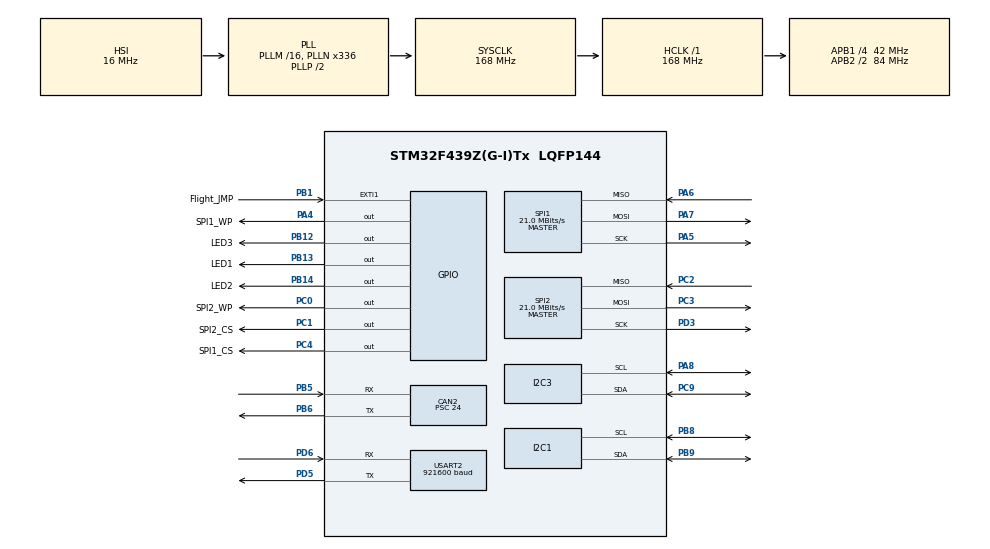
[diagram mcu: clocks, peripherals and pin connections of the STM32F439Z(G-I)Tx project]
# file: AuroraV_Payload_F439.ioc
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CAN2.BS1=CAN_BS1_11TQ
CAN2.BS2=CAN_BS2_2TQ
CAN2.CalculateBaudRate=125000
CAN2.CalculateTimeBit=8000
CAN2.CalculateTimeQuantum=571.4285714285714
CAN2.Mode=CAN_MODE_NORMAL
CAN2.Prescaler=24
CAN2.SJW=CAN_SJW_2TQ
Dma.Request0=SPI1_TX
Dma.Request1=SPI2_TX
Dma.SPI1_TX.0.Direction=DMA_MEMORY_TO_PERIPH
Dma.SPI1_TX.0.FIFOMode=DMA_FIFOMODE_DISABLE
Dma.SPI1_TX.0.Instance=DMA2_Stream3
Dma.SPI1_TX.0.MemDataAlignment=DMA_MDATAALIGN_BYTE
Dma.SPI1_TX.0.MemInc=DMA_MINC_ENABLE
Dma.SPI1_TX.0.Mode=DMA_NORMAL
Dma.SPI1_TX.0.PeriphDataAlignment=DMA_PDATAALIGN_BYTE
Dma.SPI1_TX.0.PeriphInc=DMA_PINC_DISABLE
Dma.SPI1_TX.0.Priority=DMA_PRIORITY_MEDIUM
Dma.SPI2_TX.1.Direction=DMA_MEMORY_TO_PERIPH
Dma.SPI2_TX.1.FIFOMode=DMA_FIFOMODE_DISABLE
Dma.SPI2_TX.1.Instance=DMA1_Stream4
Dma.SPI2_TX.1.MemDataAlignment=DMA_MDATAALIGN_BYTE
Dma.SPI2_TX.1.MemInc=DMA_MINC_ENABLE
Dma.SPI2_TX.1.Mode=DMA_NORMAL
Dma.SPI2_TX.1.PeriphDataAlignment=DMA_PDATAALIGN_BYTE
Dma.SPI2_TX.1.PeriphInc=DMA_PINC_DISABLE
Dma.SPI2_TX.1.Priority=DMA_PRIORITY_MEDIUM
Mcu.Family=STM32F4
Mcu.Name=STM32F439Z(G-I)Tx
Mcu.Package=LQFP144
NVIC.CAN2_RX0_IRQn=true\:0\:0\:false\:false\:true\:true\:true\:true
NVIC.DMA1_Stream4_IRQn=true\:0\:0\:false\:false\:true\:false\:true\:true
NVIC.DMA2_Stream3_IRQn=true\:0\:0\:false\:false\:true\:false\:true\:true
NVIC.EXTI1_IRQn=true\:0\:0\:false\:false\:true\:true\:true\:true
NVIC.PriorityGroup=NVIC_PRIORITYGROUP_4
NVIC.TIM6_DAC_IRQn=true\:0\:0\:false\:false\:true\:true\:true\:true
NVIC.TIM7_IRQn=true\:0\:0\:false\:false\:true\:true\:true\:true
NVIC.USART2_IRQn=true\:0\:0\:false\:false\:true\:true\:true\:true
PA11.Signal=CAN1_RX
PA12.Signal=CAN1_TX
PA13.Mode=JTAG_5_pins
PA13.Signal=SYS_JTMS-SWDIO
PA14.Mode=JTAG_5_pins
PA14.Signal=SYS_JTCK-SWCLK
PA15.Mode=JTAG_5_pins
PA15.Signal=SYS_JTDI
PA4.GPIO_Label=SPI1_WP
PA4.GPIO_PuPd=GPIO_PULLUP
PA4.Signal=GPIO_Output
PA5.Mode=Full_Duplex_Master
PA5.Signal=SPI1_SCK
PA6.Mode=Full_Duplex_Master
PA6.Signal=SPI1_MISO
PA7.Mode=Full_Duplex_Master
PA7.Signal=SPI1_MOSI
PA8.Mode=I2C
PA8.Signal=I2C3_SCL
PB1.GPIO_Label=Flight_JMP
PB1.Signal=GPXTI1
PB12.GPIO_Label=LED3
PB12.GPIO_PuPd=GPIO_PULLDOWN
PB12.Signal=GPIO_Output
PB13.GPIO_Label=LED1
PB13.GPIO_PuPd=GPIO_PULLDOWN
PB13.Signal=GPIO_Output
PB14.GPIO_Label=LED2
PB14.GPIO_PuPd=GPIO_PULLDOWN
PB14.Signal=GPIO_Output
PB3.Mode=JTAG_5_pins
PB3.Signal=SYS_JTDO-SWO
PB4.Mode=JTAG_5_pins
PB4.Signal=SYS_JTRST
PB5.Mode=CAN_Activate
PB5.Signal=CAN2_RX
PB6.Mode=CAN_Activate
PB6.Signal=CAN2_TX
PB8.Mode=I2C
PB8.Signal=I2C1_SCL
PB9.Mode=I2C
PB9.Signal=I2C1_SDA
PC0.GPIO_Label=SPI2_WP
PC0.GPIO_PuPd=GPIO_PULLUP
PC0.Signal=GPIO_Output
PC1.GPIO_Label=SPI2_CS
PC1.Signal=GPIO_Output
PC14/OSC32_IN.Mode=LSE-External-Oscillator
PC14/OSC32_IN.Signal=RCC_OSC32_IN
PC15/OSC32_OUT.Mode=LSE-External-Oscillator
PC15/OSC32_OUT.Signal=RCC_OSC32_OUT
PC2.Mode=Full_Duplex_Master
PC2.Signal=SPI2_MISO
PC3.Mode=Full_Duplex_Master
PC3.Signal=SPI2_MOSI
PC4.GPIO_Label=SPI1_CS
PC4.Signal=GPIO_Output
PC9.Mode=I2C
PC9.Signal=I2C3_SDA
PD3.Mode=Full_Duplex_Master
PD3.Signal=SPI2_SCK
PD5.Mode=Asynchronous
PD5.Signal=USART2_TX
PD6.Mode=Asynchronous
PD6.Signal=USART2_RX
PH0/OSC_IN.Mode=HSE-External-Oscillator
PH0/OSC_IN.Signal=RCC_OSC_IN
PH1/OSC_OUT.Mode=HSE-External-Oscillator
PH1/OSC_OUT.Signal=RCC_OSC_OUT
ProjectManager.HeapSize=0x200
ProjectManager.StackSize=0x400
ProjectManager.TargetToolchain=STM32CubeIDE
RCC.48MHZClocksFreq_Value=84000000
RCC.AHBFreq_Value=168000000
RCC.APB1CLKDivider=RCC_HCLK_DIV4
RCC.APB1Freq_Value=42000000
RCC.APB1TimFreq_Value=84000000
RCC.APB2CLKDivider=RCC_HCLK_DIV2
RCC.APB2Freq_Value=84000000
RCC.APB2TimFreq_Value=168000000
RCC.CortexFreq_Value=168000000
RCC.HCLKFreq_Value=168000000
RCC.HSE_VALUE=25000000
RCC.HSI_VALUE=16000000
RCC.PLLN=336
RCC.RCC_RTC_Clock_Source=RCC_RTCCLKSOURCE_LSI
RCC.RCC_RTC_Clock_SourceVirtual=RCC_RTCCLKSOURCE_LSE
RCC.SYSCLKFreq_VALUE=168000000
RCC.SYSCLKSource=RCC_SYSCLKSOURCE_PLLCLK
RCC.VCOOutputFreq_Value=336000000
SPI1.BaudRatePrescaler=SPI_BAUDRATEPRESCALER_4
SPI1.CalculateBaudRate=21.0 MBits/s
SPI1.Direction=SPI_DIRECTION_2LINES
SPI1.Mode=SPI_MODE_MASTER
SPI1.VirtualType=VM_MASTER
SPI2.BaudRatePrescaler=SPI_BAUDRATEPRESCALER_2
SPI2.CLKPhase=SPI_PHASE_1EDGE
SPI2.CalculateBaudRate=21.0 MBits/s
SPI2.Direction=SPI_DIRECTION_2LINES
SPI2.Mode=SPI_MODE_MASTER
SPI2.VirtualType=VM_MASTER
TIM6.Period=40
TIM6.Prescaler=20999
TIM7.Period=2000
TIM7.Prescaler=20999
USART2.BaudRate=921600
USART2.VirtualMode=VM_ASYNC
VP_RTC_VS_RTC_Activate.Mode=RTC_Enabled
VP_TIM6_VS_ClockSourceINT.Mode=Enable_Timer
VP_TIM7_VS_ClockSourceINT.Mode=Enable_Timer
board=custom

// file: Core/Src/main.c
/* USER CODE BEGIN Header */
/**
  ******************************************************************************
  * @file           : main.c
  * @brief          : Main program body
  ******************************************************************************
  * @attention
  *
  * Copyright (c) 2024 STMicroelectronics.
  * All rights reserved.
  *
  * This software is licensed under terms that can be found in the LICENSE file
  * in the root directory of this software component.
  * If no LICENSE file comes with this software, it is provided AS-IS.
  *
  ******************************************************************************
  */
/* USER CODE END Header */
#include "main.h"

CAN_HandleTypeDef hcan2;

I2C_HandleTypeDef hi2c1;
I2C_HandleTypeDef hi2c3;

RTC_HandleTypeDef hrtc;

SPI_HandleTypeDef hspi1;
SPI_HandleTypeDef hspi2;
DMA_HandleTypeDef hdma_spi1_tx;
DMA_HandleTypeDef hdma_spi2_tx;

TIM_HandleTypeDef htim6;
TIM_HandleTypeDef htim7;

UART_HandleTypeDef huart2;

/* USER CODE BEGIN PV */
I2C_HandleTypeDef *i2c_accel;
I2C_HandleTypeDef *i2c_bme280;

uint8_t UARTRxData[2];
Flag_State uart2_rec_flag;
uint32_t CAN_TxMailbox;
CAN_RxHeaderTypeDef CAN_RxHeader;
uint8_t CAN_RxData[CAN_PL_LGTH];
Flag_State CAN_RX_Flag;
Flag_State CAN_First_Msg;

Flag_State tim6_overflow_flag;
Flag_State tim7_overflow_flag;
uint8_t data_buffer_tx[2][PAGE_SIZE];
uint8_t buffer_tracker;
uint8_t accel_data[6];
uint8_t bme280_data_0[6];
uint8_t bme280_data_1[6];
uint8_t buffer_ref;
uint32_t next_blank_page;
uint16_t byte_tracker;
GPIO_PinState end_of_flash;

GPIO_Config led_orange;
GPIO_Config led_green;
GPIO_Config status_led;
GPIO_Config cs_spi1;
GPIO_Config wp_spi1;
GPIO_Config cs_spi2;
GPIO_Config wp_spi2;
volatile GPIO_Config jmp_flight;
Flag_State rtc_reset;

uint8_t sysStatus;
Flight_State flight_state;
uint8_t i2c_offline_cnt;

/* USER CODE END PV */

void SystemClock_Config(void);
static void MX_GPIO_Init(void);
static void MX_DMA_Init(void);
static void MX_I2C1_Init(void);
static void MX_RTC_Init(void);
static void MX_SPI1_Init(void);
static void MX_TIM6_Init(void);
static void MX_USART2_UART_Init(void);
static void MX_SPI2_Init(void);
static void MX_CAN2_Init(void);
static void MX_TIM7_Init(void);
static void MX_I2C3_Init(void);

int main(void)
{

  /* MCU Configuration--------------------------------------------------------*/

  /* Reset of all peripherals, Initializes the Flash interface and the Systick. */
  HAL_Init();

  /* Configure the system clock */
  SystemClock_Config();

  /* Initialize all configured peripherals */
  MX_GPIO_Init();
  MX_DMA_Init();
  MX_I2C1_Init();
  MX_RTC_Init();
  MX_SPI1_Init();
  MX_TIM6_Init();
  MX_USART2_UART_Init();
  MX_SPI2_Init();
  MX_CAN2_Init();
  MX_TIM7_Init();
  MX_I2C3_Init();
  /* USER CODE BEGIN 2 */
  systemInit();
  /* USER CODE END 2 */

  /* Infinite loop */
  while (1)
  {

    /* USER CODE BEGIN 3 */

	  // If the flight jumper has been removed (GPIO rising edge), reset the time to 0.
	  if(rtc_reset == FLAG_SET) {
		  initialise_rtc_default(&hrtc);
		  rtc_reset = FLAG_RESET;
	  }

	  // Handle UART receive flag
	  if(uart2_rec_flag == FLAG_SET) {
		  handleUART();
		  uart2_rec_flag = FLAG_RESET;
	  }

	  // Handle CAN receive flag
	  if(CAN_RX_Flag == FLAG_SET) {
		  if((CAN_First_Msg == FLAG_SET) && (flight_state == GROUND)) {
			  flight_state = LOADED;
		  }

		  handleCAN();
//		  HAL_GPIO_TogglePin(led_green.GPIOx, led_green.GPIO_Pin);
		  CAN_RX_Flag = FLAG_RESET;
	  }

	  if (tim7_overflow_flag == FLAG_SET) {
		  HAL_GPIO_TogglePin(led_orange.GPIOx, led_orange.GPIO_Pin);		// Toggle LED
		  sysStatus = systemStatus(&hspi1, &hspi2, i2c_bme280, i2c_accel);

		  if(sysStatus == 0x00) {
			  HAL_GPIO_WritePin(status_led.GPIOx, status_led.GPIO_Pin, GPIO_PIN_SET);	// Turn LED off
			  i2c_offline_cnt = FLAG_RESET;
		  } else {
			  HAL_GPIO_WritePin(status_led.GPIOx, status_led.GPIO_Pin, GPIO_PIN_RESET);
			  i2c_offline_cnt = i2c_offline_cnt + 1;
		  }

		  tim7_overflow_flag = FLAG_RESET;
	  }

	  // Attempt to reset the I2C bus to bring the sensors back online
	  if(i2c_offline_cnt > I2C_OFFLINE_THRESH) {
		  if((sysStatus & 0x04) == 0x04) {
			  HAL_I2C_DeInit(i2c_accel); // Deinitialize the I2C bus
			  HAL_I2C_Init(i2c_accel);   // Reinitialize the I2C bus
		  }

		  if ((sysStatus >> 3) > 0) {
			  HAL_I2C_DeInit(i2c_bme280); // Deinitialize the I2C bus
			  HAL_I2C_Init(i2c_bme280);   // Reinitialize the I2C bus
		  }

		  i2c_offline_cnt = 0;
	  }

	  // Handle Timer 6 overflow flag
	  if(tim6_overflow_flag == FLAG_SET) {
		  readAllSensors(i2c_accel, i2c_bme280, &hrtc);
		  tim6_overflow_flag = FLAG_RESET;
	  }

	  // Write data to flash when buffer is full
	  if(byte_tracker > (PAGE_SIZE - READ_SIZE)) {
		  GPIO_PinState flight_mode = HAL_GPIO_ReadPin(jmp_flight.GPIOx, jmp_flight.GPIO_Pin);
		  if((flight_mode & !(end_of_flash)) == FLAG_SET) {
			  HAL_GPIO_WritePin(led_green.GPIOx, led_green.GPIO_Pin, GPIO_PIN_SET);		// Toggle LED when writing data

			  write_data_spi_dma(data_buffer_tx[buffer_tracker], &hspi1, next_blank_page, cs_spi1);
			  write_data_spi_dma(data_buffer_tx[buffer_tracker], &hspi2, next_blank_page, cs_spi2);
			  next_blank_page += PAGE_SIZE;

			  HAL_GPIO_WritePin(led_green.GPIOx, led_green.GPIO_Pin, GPIO_PIN_RESET);		// Toggle LED when writing data
		  }

		// Reset the buffer trackers
		buffer_tracker = buffer_tracker ^ 0x01;
		byte_tracker = 0;
	  }

	  if(next_blank_page == (NUM_OF_PAGES*PAGE_SIZE)) {
		if(end_of_flash == GPIO_PIN_RESET) {
		  // TODO - Error Handle if SPI1 not found
		  next_blank_page = find_next_blank_page_all();
		}

	  }
  }
  /* USER CODE END 3 */
}

void SystemClock_Config(void)
{
  RCC_OscInitTypeDef RCC_OscInitStruct = {0};
  RCC_ClkInitTypeDef RCC_ClkInitStruct = {0};

  /** Configure the main internal regulator output voltage
  */
  __HAL_RCC_PWR_CLK_ENABLE();
  __HAL_PWR_VOLTAGESCALING_CONFIG(PWR_REGULATOR_VOLTAGE_SCALE1);

  /** Initializes the RCC Oscillators according to the specified parameters
  * in the RCC_OscInitTypeDef structure.
  */
  RCC_OscInitStruct.OscillatorType = RCC_OSCILLATORTYPE_HSI|RCC_OSCILLATORTYPE_LSI;
  RCC_OscInitStruct.HSIState = RCC_HSI_ON;
  RCC_OscInitStruct.HSICalibrationValue = RCC_HSICALIBRATION_DEFAULT;
  RCC_OscInitStruct.LSIState = RCC_LSI_ON;
  RCC_OscInitStruct.PLL.PLLState = RCC_PLL_ON;
  RCC_OscInitStruct.PLL.PLLSource = RCC_PLLSOURCE_HSI;
  RCC_OscInitStruct.PLL.PLLM = 16;
  RCC_OscInitStruct.PLL.PLLN = 336;
  RCC_OscInitStruct.PLL.PLLP = RCC_PLLP_DIV2;
  RCC_OscInitStruct.PLL.PLLQ = 4;
  if (HAL_RCC_OscConfig(&RCC_OscInitStruct) != HAL_OK)
  {
    Error_Handler();
  }

  /** Initializes the CPU, AHB and APB buses clocks
  */
  RCC_ClkInitStruct.ClockType = RCC_CLOCKTYPE_HCLK|RCC_CLOCKTYPE_SYSCLK
                              |RCC_CLOCKTYPE_PCLK1|RCC_CLOCKTYPE_PCLK2;
  RCC_ClkInitStruct.SYSCLKSource = RCC_SYSCLKSOURCE_PLLCLK;
  RCC_ClkInitStruct.AHBCLKDivider = RCC_SYSCLK_DIV1;
  RCC_ClkInitStruct.APB1CLKDivider = RCC_HCLK_DIV4;
  RCC_ClkInitStruct.APB2CLKDivider = RCC_HCLK_DIV2;

  if (HAL_RCC_ClockConfig(&RCC_ClkInitStruct, FLASH_LATENCY_5) != HAL_OK)
  {
    Error_Handler();
  }
}

static void MX_CAN2_Init(void)
{

  hcan2.Instance = CAN2;
  hcan2.Init.Prescaler = 24;
  hcan2.Init.Mode = CAN_MODE_NORMAL;
  hcan2.Init.SyncJumpWidth = CAN_SJW_2TQ;
  hcan2.Init.TimeSeg1 = CAN_BS1_11TQ;
  hcan2.Init.TimeSeg2 = CAN_BS2_2TQ;
  hcan2.Init.TimeTriggeredMode = DISABLE;
  hcan2.Init.AutoBusOff = DISABLE;
  hcan2.Init.AutoWakeUp = DISABLE;
  hcan2.Init.AutoRetransmission = DISABLE;
  hcan2.Init.ReceiveFifoLocked = DISABLE;
  hcan2.Init.TransmitFifoPriority = DISABLE;
  if (HAL_CAN_Init(&hcan2) != HAL_OK)
  {
    Error_Handler();
  }

}

static void MX_I2C1_Init(void)
{

  hi2c1.Instance = I2C1;
  hi2c1.Init.ClockSpeed = 100000;
  hi2c1.Init.DutyCycle = I2C_DUTYCYCLE_2;
  hi2c1.Init.OwnAddress1 = 0;
  hi2c1.Init.AddressingMode = I2C_ADDRESSINGMODE_7BIT;
  hi2c1.Init.DualAddressMode = I2C_DUALADDRESS_DISABLE;
  hi2c1.Init.OwnAddress2 = 0;
  hi2c1.Init.GeneralCallMode = I2C_GENERALCALL_DISABLE;
  hi2c1.Init.NoStretchMode = I2C_NOSTRETCH_DISABLE;
  if (HAL_I2C_Init(&hi2c1) != HAL_OK)
  {
    Error_Handler();
  }

  /** Configure Analogue filter
  */
  if (HAL_I2CEx_ConfigAnalogFilter(&hi2c1, I2C_ANALOGFILTER_ENABLE) != HAL_OK)
  {
    Error_Handler();
  }

  /** Configure Digital filter
  */
  if (HAL_I2CEx_ConfigDigitalFilter(&hi2c1, 0) != HAL_OK)
  {
    Error_Handler();
  }

}

static void MX_I2C3_Init(void)
{

  hi2c3.Instance = I2C3;
  hi2c3.Init.ClockSpeed = 100000;
  hi2c3.Init.DutyCycle = I2C_DUTYCYCLE_2;
  hi2c3.Init.OwnAddress1 = 0;
  hi2c3.Init.AddressingMode = I2C_ADDRESSINGMODE_7BIT;
  hi2c3.Init.DualAddressMode = I2C_DUALADDRESS_DISABLE;
  hi2c3.Init.OwnAddress2 = 0;
  hi2c3.Init.GeneralCallMode = I2C_GENERALCALL_DISABLE;
  hi2c3.Init.NoStretchMode = I2C_NOSTRETCH_DISABLE;
  if (HAL_I2C_Init(&hi2c3) != HAL_OK)
  {
    Error_Handler();
  }

  /** Configure Analogue filter
  */
  if (HAL_I2CEx_ConfigAnalogFilter(&hi2c3, I2C_ANALOGFILTER_ENABLE) != HAL_OK)
  {
    Error_Handler();
  }

  /** Configure Digital filter
  */
  if (HAL_I2CEx_ConfigDigitalFilter(&hi2c3, 0) != HAL_OK)
  {
    Error_Handler();
  }

}

static void MX_RTC_Init(void)
{

  /** Initialize RTC Only
  */
  hrtc.Instance = RTC;
  hrtc.Init.HourFormat = RTC_HOURFORMAT_24;
  hrtc.Init.AsynchPrediv = 127;
  hrtc.Init.SynchPrediv = 255;
  hrtc.Init.OutPut = RTC_OUTPUT_DISABLE;
  hrtc.Init.OutPutPolarity = RTC_OUTPUT_POLARITY_HIGH;
  hrtc.Init.OutPutType = RTC_OUTPUT_TYPE_OPENDRAIN;
  if (HAL_RTC_Init(&hrtc) != HAL_OK)
  {
    Error_Handler();
  }

}

static void MX_SPI1_Init(void)
{

  /* SPI1 parameter configuration*/
  hspi1.Instance = SPI1;
  hspi1.Init.Mode = SPI_MODE_MASTER;
  hspi1.Init.Direction = SPI_DIRECTION_2LINES;
  hspi1.Init.DataSize = SPI_DATASIZE_8BIT;
  hspi1.Init.CLKPolarity = SPI_POLARITY_LOW;
  hspi1.Init.CLKPhase = SPI_PHASE_1EDGE;
  hspi1.Init.NSS = SPI_NSS_SOFT;
  hspi1.Init.BaudRatePrescaler = SPI_BAUDRATEPRESCALER_4;
  hspi1.Init.FirstBit = SPI_FIRSTBIT_MSB;
  hspi1.Init.TIMode = SPI_TIMODE_DISABLE;
  hspi1.Init.CRCCalculation = SPI_CRCCALCULATION_DISABLE;
  hspi1.Init.CRCPolynomial = 10;
  if (HAL_SPI_Init(&hspi1) != HAL_OK)
  {
    Error_Handler();
  }

}

static void MX_SPI2_Init(void)
{

  /* SPI2 parameter configuration*/
  hspi2.Instance = SPI2;
  hspi2.Init.Mode = SPI_MODE_MASTER;
  hspi2.Init.Direction = SPI_DIRECTION_2LINES;
  hspi2.Init.DataSize = SPI_DATASIZE_8BIT;
  hspi2.Init.CLKPolarity = SPI_POLARITY_LOW;
  hspi2.Init.CLKPhase = SPI_PHASE_1EDGE;
  hspi2.Init.NSS = SPI_NSS_SOFT;
  hspi2.Init.BaudRatePrescaler = SPI_BAUDRATEPRESCALER_2;
  hspi2.Init.FirstBit = SPI_FIRSTBIT_MSB;
  hspi2.Init.TIMode = SPI_TIMODE_DISABLE;
  hspi2.Init.CRCCalculation = SPI_CRCCALCULATION_DISABLE;
  hspi2.Init.CRCPolynomial = 10;
  if (HAL_SPI_Init(&hspi2) != HAL_OK)
  {
    Error_Handler();
  }

}

static void MX_TIM6_Init(void)
{

  TIM_MasterConfigTypeDef sMasterConfig = {0};

  htim6.Instance = TIM6;
  htim6.Init.Prescaler = 20999;
  htim6.Init.CounterMode = TIM_COUNTERMODE_UP;
  htim6.Init.Period = 40;
  htim6.Init.AutoReloadPreload = TIM_AUTORELOAD_PRELOAD_DISABLE;
  if (HAL_TIM_Base_Init(&htim6) != HAL_OK)
  {
    Error_Handler();
  }
  sMasterConfig.MasterOutputTrigger = TIM_TRGO_RESET;
  sMasterConfig.MasterSlaveMode = TIM_MASTERSLAVEMODE_DISABLE;
  if (HAL_TIMEx_MasterConfigSynchronization(&htim6, &sMasterConfig) != HAL_OK)
  {
    Error_Handler();
  }

}

static void MX_TIM7_Init(void)
{

  TIM_MasterConfigTypeDef sMasterConfig = {0};

  htim7.Instance = TIM7;
  htim7.Init.Prescaler = 20999;
  htim7.Init.CounterMode = TIM_COUNTERMODE_UP;
  htim7.Init.Period = 2000;
  htim7.Init.AutoReloadPreload = TIM_AUTORELOAD_PRELOAD_DISABLE;
  if (HAL_TIM_Base_Init(&htim7) != HAL_OK)
  {
    Error_Handler();
  }
  sMasterConfig.MasterOutputTrigger = TIM_TRGO_RESET;
  sMasterConfig.MasterSlaveMode = TIM_MASTERSLAVEMODE_DISABLE;
  if (HAL_TIMEx_MasterConfigSynchronization(&htim7, &sMasterConfig) != HAL_OK)
  {
    Error_Handler();
  }

}

static void MX_USART2_UART_Init(void)
{

  huart2.Instance = USART2;
  huart2.Init.BaudRate = 921600;
  huart2.Init.WordLength = UART_WORDLENGTH_8B;
  huart2.Init.StopBits = UART_STOPBITS_1;
  huart2.Init.Parity = UART_PARITY_NONE;
  huart2.Init.Mode = UART_MODE_TX_RX;
  huart2.Init.HwFlowCtl = UART_HWCONTROL_NONE;
  huart2.Init.OverSampling = UART_OVERSAMPLING_16;
  if (HAL_UART_Init(&huart2) != HAL_OK)
  {
    Error_Handler();
  }

}

static void MX_DMA_Init(void)
{

  /* DMA controller clock enable */
  __HAL_RCC_DMA2_CLK_ENABLE();
  __HAL_RCC_DMA1_CLK_ENABLE();

  /* DMA interrupt init */
  /* DMA1_Stream4_IRQn interrupt configuration */
  HAL_NVIC_SetPriority(DMA1_Stream4_IRQn, 0, 0);
  HAL_NVIC_EnableIRQ(DMA1_Stream4_IRQn);
  /* DMA2_Stream3_IRQn interrupt configuration */
  HAL_NVIC_SetPriority(DMA2_Stream3_IRQn, 0, 0);
  HAL_NVIC_EnableIRQ(DMA2_Stream3_IRQn);

}

static void MX_GPIO_Init(void)
{
  GPIO_InitTypeDef GPIO_InitStruct = {0};

  /* GPIO Ports Clock Enable */
  __HAL_RCC_GPIOC_CLK_ENABLE();
  __HAL_RCC_GPIOH_CLK_ENABLE();
  __HAL_RCC_GPIOA_CLK_ENABLE();
  __HAL_RCC_GPIOB_CLK_ENABLE();
  __HAL_RCC_GPIOD_CLK_ENABLE();

  /*Configure GPIO pin Output Level */
  HAL_GPIO_WritePin(GPIOC, SPI2_WP_Pin|SPI2_CS_Pin|SPI1_CS_Pin, GPIO_PIN_RESET);

  /*Configure GPIO pin Output Level */
  HAL_GPIO_WritePin(SPI1_WP_GPIO_Port, SPI1_WP_Pin, GPIO_PIN_RESET);

  /*Configure GPIO pin Output Level */
  HAL_GPIO_WritePin(GPIOB, LED3_Pin|LED1_Pin|LED2_Pin, GPIO_PIN_RESET);

  /*Configure GPIO pin : SPI2_WP_Pin */
  GPIO_InitStruct.Pin = SPI2_WP_Pin;
  GPIO_InitStruct.Mode = GPIO_MODE_OUTPUT_PP;
  GPIO_InitStruct.Pull = GPIO_PULLUP;
  GPIO_InitStruct.Speed = GPIO_SPEED_FREQ_LOW;
  HAL_GPIO_Init(SPI2_WP_GPIO_Port, &GPIO_InitStruct);

  /*Configure GPIO pins : SPI2_CS_Pin SPI1_CS_Pin */
  GPIO_InitStruct.Pin = SPI2_CS_Pin|SPI1_CS_Pin;
  GPIO_InitStruct.Mode = GPIO_MODE_OUTPUT_PP;
  GPIO_InitStruct.Pull = GPIO_NOPULL;
  GPIO_InitStruct.Speed = GPIO_SPEED_FREQ_LOW;
  HAL_GPIO_Init(GPIOC, &GPIO_InitStruct);

  /*Configure GPIO pin : SPI1_WP_Pin */
  GPIO_InitStruct.Pin = SPI1_WP_Pin;
  GPIO_InitStruct.Mode = GPIO_MODE_OUTPUT_PP;
  GPIO_InitStruct.Pull = GPIO_PULLUP;
  GPIO_InitStruct.Speed = GPIO_SPEED_FREQ_LOW;
  HAL_GPIO_Init(SPI1_WP_GPIO_Port, &GPIO_InitStruct);

  /*Configure GPIO pin : Flight_JMP_Pin */
  GPIO_InitStruct.Pin = Flight_JMP_Pin;
  GPIO_InitStruct.Mode = GPIO_MODE_IT_RISING;
  GPIO_InitStruct.Pull = GPIO_NOPULL;
  HAL_GPIO_Init(Flight_JMP_GPIO_Port, &GPIO_InitStruct);

  /*Configure GPIO pins : LED3_Pin LED1_Pin LED2_Pin */
  GPIO_InitStruct.Pin = LED3_Pin|LED1_Pin|LED2_Pin;
  GPIO_InitStruct.Mode = GPIO_MODE_OUTPUT_PP;
  GPIO_InitStruct.Pull = GPIO_PULLDOWN;
  GPIO_InitStruct.Speed = GPIO_SPEED_FREQ_LOW;
  HAL_GPIO_Init(GPIOB, &GPIO_InitStruct);

  /*Configure GPIO pins : PA11 PA12 */
  GPIO_InitStruct.Pin = GPIO_PIN_11|GPIO_PIN_12;
  GPIO_InitStruct.Mode = GPIO_MODE_AF_PP;
  GPIO_InitStruct.Pull = GPIO_NOPULL;
  GPIO_InitStruct.Speed = GPIO_SPEED_FREQ_VERY_HIGH;
  GPIO_InitStruct.Alternate = GPIO_AF9_CAN1;
  HAL_GPIO_Init(GPIOA, &GPIO_InitStruct);

  /* EXTI interrupt init*/
  HAL_NVIC_SetPriority(EXTI1_IRQn, 0, 0);
  HAL_NVIC_EnableIRQ(EXTI1_IRQn);

}

/* USER CODE BEGIN 4 */
void clean_data_buffer(uint16_t array_size, uint8_t data_array[array_size]) {
    for (int i = 0; i < array_size; ++i) {
    	data_array[i] = 0xFF;  // Initialize each element to 0xFF
    }
}

void systemInit() {
	i2c_accel = &hi2c3;
	i2c_bme280 = &hi2c1;

	configureCAN();
	CAN_TxMailbox = 0;
	CAN_First_Msg = FLAG_RESET;
	clean_data_buffer(8, CAN_RxData);

	gpio_set_config();
	HAL_GPIO_WritePin(led_orange.GPIOx, led_orange.GPIO_Pin, GPIO_PIN_RESET);	// Turn LED off
	HAL_GPIO_WritePin(status_led.GPIOx, status_led.GPIO_Pin, GPIO_PIN_RESET);	// Turn LED off
	HAL_GPIO_WritePin(cs_spi1.GPIOx, cs_spi1.GPIO_Pin, GPIO_PIN_SET);		// SET SPI CS High to disable bus 1
	HAL_GPIO_WritePin(cs_spi2.GPIOx, cs_spi2.GPIO_Pin, GPIO_PIN_SET);		// SET SPI CS High to disable bus 2

	// Clean the data buffer and set all values to 0xFF
	clean_data_buffer(PAGE_SIZE, data_buffer_tx[0]);
	clean_data_buffer(PAGE_SIZE, data_buffer_tx[1]);

	for (uint8_t i = 0; i < 6; i++) {
		accel_data[i] = 0x00;
		bme280_data_0[i] = 0x00;
		bme280_data_1[i] = 0x00;
	}

	// Initialise the peripherals
	init_accel(i2c_accel);
	init_bme280(i2c_bme280, 0);
	init_bme280(i2c_bme280, 1);
	software_reset(&hspi1, cs_spi1);
	software_reset(&hspi2, cs_spi2);

	end_of_flash = GPIO_PIN_RESET;

	// Assign the value of next_blank_page to the larger of next_blank_page0 and next_blank_page1
	next_blank_page = find_next_blank_page_all();

	buffer_ref = 0;
	byte_tracker = 0;
	uart2_rec_flag = FLAG_RESET;
	CAN_RX_Flag = FLAG_RESET;
	tim6_overflow_flag = FLAG_RESET;
	tim7_overflow_flag = FLAG_RESET;
	flight_state = GROUND;
	rtc_reset = FLAG_RESET;
	i2c_offline_cnt = FLAG_RESET;

	sysStatus = systemStatus(&hspi1, &hspi2, i2c_bme280, i2c_accel);

	send_uart_hex(&huart2, sysStatus);

	// Initiate clocks, interrupts, CAN and DMA
	HAL_UART_Receive_IT(&huart2, UARTRxData, 2);
	HAL_CAN_Start(&hcan2);
	HAL_CAN_ActivateNotification(&hcan2, CAN_IT_RX_FIFO0_MSG_PENDING);
	initialise_rtc_default(&hrtc);
	HAL_TIM_Base_Start_IT(&htim6);
	HAL_TIM_Base_Start_IT(&htim7);
}

void gpio_set_config() {
	// Set LED gpio
	led_orange = create_GPIO_Config(GPIOB, GPIO_PIN_14);	// Orange LED (Heartbeat LED)
	led_green = create_GPIO_Config(GPIOB, GPIO_PIN_13);		// Green LED (Hard Drive LED)
	status_led = create_GPIO_Config(GPIOB, GPIO_PIN_12);	// Status LED

	// SPI Flash 0 CS and WP
	cs_spi1 = create_GPIO_Config(GPIOC, GPIO_PIN_4);		// Change for SRAD
	wp_spi1 = create_GPIO_Config(GPIOA, GPIO_PIN_4);

	// SPI Flash 1 CS and WP
	cs_spi2 = create_GPIO_Config(GPIOC, GPIO_PIN_1);		// Change for SRAD
	wp_spi2 = create_GPIO_Config(GPIOC, GPIO_PIN_0);

	// Flight Jumper GPIO Input
	jmp_flight = create_GPIO_Config(GPIOB, GPIO_PIN_1);
}

void handleCAN() {
	// Process "clock-sync". Change flight-state to "rocket_loaded"
	if(CAN_RxHeader.StdId == CLK_SYNC_ID) {
		flight_state = LOADED;
		uint8_t TxData[1] = {0x00};
		sendCAN_TxMessage(&hcan2, 1, TxData, &CAN_TxMailbox, CLK_SYNC_ID);
	}

	// Transmit values from BME280_0
	else if(CAN_RxHeader.StdId == TX_BME280_0) {
		sendCAN_TxMessage(&hcan2, 6, bme280_data_0, &CAN_TxMailbox, TX_BME280_0);
	}

	// Transmit values from BME280_1
	else if(CAN_RxHeader.StdId == TX_BME280_1) {
		sendCAN_TxMessage(&hcan2, 6, bme280_data_1, &CAN_TxMailbox, TX_BME280_1);
	}

	// Transmit values from accelerometer
	else if(CAN_RxHeader.StdId == TX_ACCEL) {
		sendCAN_TxMessage(&hcan2, 6, accel_data, &CAN_TxMailbox, TX_ACCEL);
	}

	// Transmit status code and flight state
	else if(CAN_RxHeader.StdId == TX_STATUS) {
		uint8_t combState = combine_system_status();
		sendCAN_TxMessage(&hcan2, 1, &combState, &CAN_TxMailbox, TX_STATUS);
	}

	// Transmit "confirmation" of dummy over UART
	else if(CAN_RxHeader.StdId == DUMMY_ID) {
		send_uart_hex(&huart2, sysStatus);
	}
}

void handleUART() {
	UART_HandleTypeDef *huart = &huart2;

	// Send Heartbeat to UART (data_rx[0] = "h")
	if (UARTRxData[0] == 0x68) {
		heartbeatUART(huart);
		send_uart_hex(huart, sysStatus);
	}

/***************************** SPI Flash ************************************************/
	// Erase specified flash chip (data_rx[0]  = "e")
	else if (UARTRxData[0] == 0x65) {
		HAL_GPIO_WritePin(led_green.GPIOx, led_green.GPIO_Pin, GPIO_PIN_SET);		// Activate the "write out" LED
		if(decodeASCII(UARTRxData[1]) == 0) {
			eraseFlashSPI(&hspi1, huart, cs_spi1);
		} else if (decodeASCII(UARTRxData[1]) == 1) {
			eraseFlashSPI(&hspi2, huart, cs_spi2);
		}

		// Assign the value of next_blank_page to the larger of next_blank_page0 and next_blank_page1
		next_blank_page = find_next_blank_page_all();
		HAL_GPIO_WritePin(led_green.GPIOx, led_green.GPIO_Pin,GPIO_PIN_RESET);	// Deactivate the "write out" LED
	}

	// Read data from specified flash chip (data_rx[0] = "r")
	else if (UARTRxData[0] == 0x72) {
		HAL_GPIO_WritePin(led_green.GPIOx, led_green.GPIO_Pin,GPIO_PIN_SET);
		if(decodeASCII(UARTRxData[1]) == 0) {
			readFlashToUART(&hspi1, huart, cs_spi1);
		} else if (decodeASCII(UARTRxData[1]) == 1) {
			readFlashToUART(&hspi2, huart, cs_spi2);
		}
		HAL_GPIO_WritePin(led_green.GPIOx, led_green.GPIO_Pin,GPIO_PIN_RESET);
	}

	// Read Manufacturer over SPI (data_rx[0] = "m")
	else if (UARTRxData[0] == 0x6d) {
		if(decodeASCII(UARTRxData[1]) == 0) {
			readFlashManuSPI(&hspi1, huart, cs_spi1);
		} else if (decodeASCII(UARTRxData[1]) == 1) {
			readFlashManuSPI(&hspi2, huart, cs_spi2);
		}
	}

	// Write a page over SPI (data_rx[0] = "w")
	else if (UARTRxData[0] == 0x77) {
		if(decodeASCII(UARTRxData[1]) == 0) {
			writePageSPI_W(&hspi1, huart, cs_spi1);
		} else if (decodeASCII(UARTRxData[1]) == 1) {
			writePageSPI_W(&hspi2, huart, cs_spi2);
		}
	}

	// Software reset flash chip over SPI (data_rx[0] = "x")
	else if (UARTRxData[0] == 0x78) {
		if(decodeASCII(UARTRxData[1]) == 0) {
			resetSPIFlash(&hspi1, huart, cs_spi1);
		} else if (decodeASCII(UARTRxData[1]) == 1) {
			resetSPIFlash(&hspi2, huart, cs_spi2);
		}
	}

/*********************************** I2C Accelerometer ***********************************/
	// Read Accelerometer WhoAmI (data_rx[0] = "c")
	else if (UARTRxData[0] == 0x63) {
		checkAccelWhoAmI(i2c_accel, huart);
	}

	// Read the accelerometer and print to the UART[0] (data_rx [0] = "a")
	else if (UARTRxData[0] == 0x61) {
		accelToUART(huart);
	}

/********************************** I2C BME280 *******************************************/
	// Read the temp sensor ID and print to the UART[0] (data_rx [0]= "b")
	else if (UARTRxData[0] == 0x62) {
		readTempSensorID(i2c_bme280, huart, decodeASCII(UARTRxData[1]));
	}

	// Read the temp sensor calibration registers and print to the UART (data_rx[0] = "p")
	else if (UARTRxData[0] == 0x70) {
		readTempCalibration(i2c_bme280, huart, decodeASCII(UARTRxData[1]));
	}

	// Read the temp sensor and print to the UART[0] (data_rx [0]= "t")
	else if (UARTRxData[0] == 0x74) {
		readTempSensor(huart, decodeASCII(UARTRxData[1]));
	}

	/********************************** CAN Bus *******************************************/
	// Send the second byte received over the CAN bus as a payload with id 0x700 (data_rx [0]= "n")
	else if (UARTRxData[0] == 0x6E) {
		uint8_t TxData[1] = {UARTRxData[1]};
		sendCAN_TxMessage(&hcan2, 1, TxData, &CAN_TxMailbox, DUMMY_ID);
	}

	UARTRxData[0] = 0x00;
	UARTRxData[1] = 0x00;
}

uint8_t decodeASCII(uint8_t asciiVal) {
	int returnVal = -1;
	if ((asciiVal >= 48) && (asciiVal <= 57)) {
		returnVal = asciiVal - 48;
	}
	return returnVal;
}

uint8_t combine_system_status() {
    // Mask status to use only bits 4:0
    uint8_t masked_status = sysStatus & 0x1F; 			// 0001 1111b

    // Mask flight_state to use only bits 2:0
    uint8_t masked_flight_state = flight_state & 0x07; 	// 0000 0111b
    // Shift flight_state to the correct position (bits 7:5)
    uint8_t shifted_flight_state = masked_flight_state << 5;

    // Combine the masked_status and shifted_flight_state
    uint8_t combined_value = masked_status | shifted_flight_state;

    return combined_value;
}

void configureCAN() {
	CAN_FilterTypeDef canFilterConfig;

	canFilterConfig.FilterActivation = CAN_FILTER_ENABLE;
	canFilterConfig.FilterBank = 10;
	canFilterConfig.FilterFIFOAssignment = CAN_RX_FIFO0;
	canFilterConfig.FilterIdHigh = 0x500 << 5;				// Filter only messages with ID 1X1XXXXXXXXb
	canFilterConfig.FilterIdLow = 0x0000;
	canFilterConfig.FilterMaskIdHigh = 0x500 << 5;
	canFilterConfig.FilterMaskIdLow = 0x0000;
	canFilterConfig.FilterMode = CAN_FILTERMODE_IDMASK;
	canFilterConfig.FilterScale = CAN_FILTERSCALE_32BIT;
	canFilterConfig.SlaveStartFilterBank = 0;

	HAL_CAN_ConfigFilter(&hcan2, &canFilterConfig);
}

uint32_t find_next_blank_page_all() {
	int next_blank_page0 = find_next_blank_page(&hspi1, &end_of_flash, cs_spi1);
	int next_blank_page1 = find_next_blank_page(&hspi2, &end_of_flash, cs_spi2);
//	int next_blank_page1= 0;
	// Assign the value of next_blank_page to the larger of next_blank_page0 and next_blank_page1
	next_blank_page = (next_blank_page0 > next_blank_page1) ? next_blank_page0 : next_blank_page1;

	return next_blank_page;
}

/* USER CODE END 4 */

void Error_Handler(void)
{
  __disable_irq();
  while (1)
  {
  }
}
